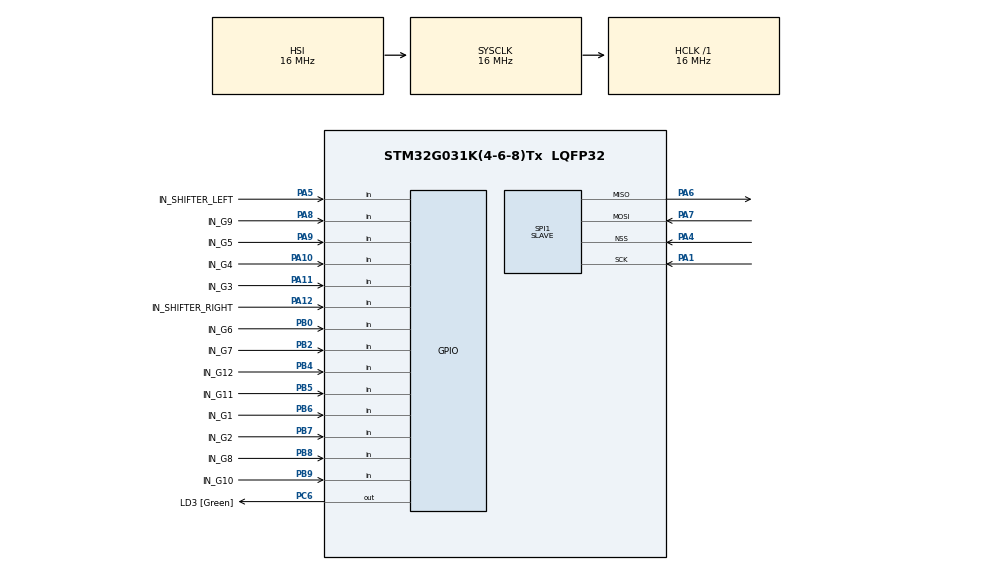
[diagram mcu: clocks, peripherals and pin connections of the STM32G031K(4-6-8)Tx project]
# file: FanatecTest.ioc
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Dma.Request0=SPI1_TX
Dma.Request1=SPI1_RX
Dma.SPI1_RX.1.Direction=DMA_PERIPH_TO_MEMORY
Dma.SPI1_RX.1.EventEnable=DISABLE
Dma.SPI1_RX.1.Instance=DMA1_Channel2
Dma.SPI1_RX.1.MemDataAlignment=DMA_MDATAALIGN_BYTE
Dma.SPI1_RX.1.MemInc=DMA_MINC_ENABLE
Dma.SPI1_RX.1.Mode=DMA_NORMAL
Dma.SPI1_RX.1.PeriphDataAlignment=DMA_PDATAALIGN_BYTE
Dma.SPI1_RX.1.PeriphInc=DMA_PINC_DISABLE
Dma.SPI1_RX.1.Polarity=HAL_DMAMUX_REQ_GEN_RISING
Dma.SPI1_RX.1.Priority=DMA_PRIORITY_LOW
Dma.SPI1_RX.1.RequestNumber=1
Dma.SPI1_RX.1.SignalID=NONE
Dma.SPI1_RX.1.SyncEnable=DISABLE
Dma.SPI1_RX.1.SyncPolarity=HAL_DMAMUX_SYNC_NO_EVENT
Dma.SPI1_RX.1.SyncRequestNumber=1
Dma.SPI1_RX.1.SyncSignalID=NONE
Dma.SPI1_TX.0.Direction=DMA_MEMORY_TO_PERIPH
Dma.SPI1_TX.0.EventEnable=DISABLE
Dma.SPI1_TX.0.Instance=DMA1_Channel1
Dma.SPI1_TX.0.MemDataAlignment=DMA_MDATAALIGN_BYTE
Dma.SPI1_TX.0.MemInc=DMA_MINC_ENABLE
Dma.SPI1_TX.0.Mode=DMA_NORMAL
Dma.SPI1_TX.0.PeriphDataAlignment=DMA_PDATAALIGN_BYTE
Dma.SPI1_TX.0.PeriphInc=DMA_PINC_DISABLE
Dma.SPI1_TX.0.Polarity=HAL_DMAMUX_REQ_GEN_RISING
Dma.SPI1_TX.0.Priority=DMA_PRIORITY_LOW
Dma.SPI1_TX.0.RequestNumber=1
Dma.SPI1_TX.0.SignalID=NONE
Dma.SPI1_TX.0.SyncEnable=DISABLE
Dma.SPI1_TX.0.SyncPolarity=HAL_DMAMUX_SYNC_NO_EVENT
Dma.SPI1_TX.0.SyncRequestNumber=1
Dma.SPI1_TX.0.SyncSignalID=NONE
Mcu.Family=STM32G0
Mcu.Name=STM32G031K(4-6-8)Tx
Mcu.Package=LQFP32
NVIC.DMA1_Channel1_IRQn=true\:0\:0\:false\:false\:true\:false\:true\:true
NVIC.DMA1_Channel2_3_IRQn=true\:0\:0\:false\:false\:true\:false\:true\:true
NVIC.SPI1_IRQn=true\:0\:0\:false\:false\:true\:true\:true\:true
PA1.Mode=Full_Duplex_Slave
PA1.Signal=SPI1_SCK
PA10.GPIO_Label=IN_G4
PA10.GPIO_PuPd=GPIO_PULLUP
PA10.Signal=GPIO_Input
PA11\ [PA9].GPIO_Label=IN_G3
PA11\ [PA9].GPIO_PuPd=GPIO_PULLUP
PA11\ [PA9].Signal=GPIO_Input
PA12\ [PA10].GPIO_Label=IN_SHIFTER_RIGHT
PA12\ [PA10].GPIO_PuPd=GPIO_PULLUP
PA12\ [PA10].Signal=GPIO_Input
PA13.GPIO_Label=T_JTMS
PA13.Mode=Serial_Wire
PA13.Signal=SYS_SWDIO
PA14-BOOT0.GPIO_Label=T_JTCK
PA14-BOOT0.Mode=Serial_Wire
PA14-BOOT0.Signal=SYS_SWCLK
PA4.Mode=NSS_Signal_Hard_Input
PA4.Signal=SPI1_NSS
PA5.GPIO_Label=IN_SHIFTER_LEFT
PA5.GPIO_PuPd=GPIO_PULLUP
PA5.Signal=GPIO_Input
PA6.Mode=Full_Duplex_Slave
PA6.Signal=SPI1_MISO
PA7.Mode=Full_Duplex_Slave
PA7.Signal=SPI1_MOSI
PA8.GPIO_Label=IN_G9
PA8.GPIO_PuPd=GPIO_PULLUP
PA8.Signal=GPIO_Input
PA9.GPIO_Label=IN_G5
PA9.GPIO_PuPd=GPIO_PULLUP
PA9.Signal=GPIO_Input
PB0.GPIO_Label=IN_G6
PB0.GPIO_PuPd=GPIO_PULLUP
PB0.Signal=GPIO_Input
PB2.GPIO_Label=IN_G7
PB2.GPIO_PuPd=GPIO_PULLUP
PB2.Signal=GPIO_Input
PB4.GPIO_Label=IN_G12
PB4.GPIO_PuPd=GPIO_PULLUP
PB4.Signal=GPIO_Input
PB5.GPIO_Label=IN_G11
PB5.GPIO_PuPd=GPIO_PULLUP
PB5.Signal=GPIO_Input
PB6.GPIO_Label=IN_G1
PB6.GPIO_PuPd=GPIO_PULLUP
PB6.Signal=GPIO_Input
PB7.GPIO_Label=IN_G2
PB7.GPIO_PuPd=GPIO_PULLUP
PB7.Signal=GPIO_Input
PB8.GPIO_Label=IN_G8
PB8.GPIO_PuPd=GPIO_PULLUP
PB8.Signal=GPIO_Input
PB9.GPIO_Label=IN_G10
PB9.GPIO_PuPd=GPIO_PULLUP
PB9.Signal=GPIO_Input
PC14-OSC32_IN\ (PC14).Mode=LSE-External-Oscillator
PC14-OSC32_IN\ (PC14).Signal=RCC_OSC32_IN
PC15-OSC32_OUT\ (PC15).Mode=LSE-External-Oscillator
PC15-OSC32_OUT\ (PC15).Signal=RCC_OSC32_OUT
PC6.GPIO_Label=LD3 [Green]
PC6.Signal=GPIO_Output
ProjectManager.HeapSize=0x200
ProjectManager.StackSize=0x400
ProjectManager.TargetToolchain=STM32CubeIDE
RCC.AHBFreq_Value=16000000
RCC.CortexFreq_Value=16000000
RCC.EXTERNAL_CLOCK_VALUE=12288000
RCC.HCLKFreq_Value=16000000
RCC.HSE_VALUE=8000000
RCC.HSI_VALUE=16000000
RCC.SYSCLKFreq_VALUE=16000000
RCC.VCOOutputFreq_Value=128000000
SPI1.Direction=SPI_DIRECTION_2LINES
SPI1.Mode=SPI_MODE_SLAVE
SPI1.VirtualNSS=VM_NSSHARD
SPI1.VirtualType=VM_SLAVE
board=NUCLEO-G031K8

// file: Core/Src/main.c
/* USER CODE BEGIN Header */
/**
 ******************************************************************************
 * @file           : main.c
 * @brief          : Main program body
 ******************************************************************************
 * @attention
 *
 * Copyright (c) 2023 STMicroelectronics.
 * All rights reserved.
 *
 * This software is licensed under terms that can be found in the LICENSE file
 * in the root directory of this software component.
 * If no LICENSE file comes with this software, it is provided AS-IS.
 *
 ******************************************************************************
 */
/* USER CODE END Header */
#include "main.h"

/* USER CODE BEGIN PM */
SPI_HandleTypeDef hspi1;
DMA_HandleTypeDef hdma_spi1_tx;
DMA_HandleTypeDef hdma_spi1_rx;

int cntSucc = 0;
int cntErr = 0;

#define BUFFER_SIZE 33
//uint8_t aTxBuffer[BUFFER_SIZE] = { 0xA5, 0x03, 0x01, 0x00, 0x00, 0x00, 0x00,
//		0x00, 0x00, 0x00, 0x00, 0x00, 0x00, 0x00, 0x00, 0x00, 0x00, 0x00, 0x00,
//		0x00, 0x00, 0x00, 0x00, 0x00, 0x00, 0x00, 0x00, 0x00, 0x00, 0x00, 0x00,
//		0x00, 0xb9};

uint8_t aTxBuffer[BUFFER_SIZE] = { 0xA5, 0x04, 0x00, 0x00, 0x00, 0x00, 0x00,
		0x00, 0x00, 0x00, 0x00, 0x00, 0x00, 0x00, 0x00, 0x00, 0x00, 0x00, 0x00,
		0x00, 0x00, 0x00, 0x00, 0x00, 0x00, 0x00, 0x00, 0x00, 0x00, 0x00, 0x00,
		0x00, 0xfc };

const unsigned char _crc8_table[256] = { 0, 94, 188, 226, 97, 63, 221, 131, 194,
		156, 126, 32, 163, 253, 31, 65, 157, 195, 33, 127, 252, 162, 64, 30, 95,
		1, 227, 189, 62, 96, 130, 220, 35, 125, 159, 193, 66, 28, 254, 160, 225,
		191, 93, 3, 128, 222, 60, 98, 190, 224, 2, 92, 223, 129, 99, 61, 124,
		34, 192, 158, 29, 67, 161, 255, 70, 24, 250, 164, 39, 121, 155, 197,
		132, 218, 56, 102, 229, 187, 89, 7, 219, 133, 103, 57, 186, 228, 6, 88,
		25, 71, 165, 251, 120, 38, 196, 154, 101, 59, 217, 135, 4, 90, 184, 230,
		167, 249, 27, 69, 198, 152, 122, 36, 248, 166, 68, 26, 153, 199, 37,
		123, 58, 100, 134, 216, 91, 5, 231, 185, 140, 210, 48, 110, 237, 179,
		81, 15, 78, 16, 242, 172, 47, 113, 147, 205, 17, 79, 173, 243, 112, 46,
		204, 146, 211, 141, 111, 49, 178, 236, 14, 80, 175, 241, 19, 77, 206,
		144, 114, 44, 109, 51, 209, 143, 12, 82, 176, 238, 50, 108, 142, 208,
		83, 13, 239, 177, 240, 174, 76, 18, 145, 207, 45, 115, 202, 148, 118,
		40, 171, 245, 23, 73, 8, 86, 180, 234, 105, 55, 213, 139, 87, 9, 235,
		181, 54, 104, 138, 212, 149, 203, 41, 119, 244, 170, 72, 22, 233, 183,
		85, 11, 136, 214, 52, 106, 43, 117, 151, 201, 74, 20, 246, 168, 116, 42,
		200, 150, 21, 75, 169, 247, 182, 232, 10, 84, 215, 137, 107, 53 };

uint8_t crc8(const uint8_t *buf, uint8_t length) {
	uint8_t crc = 0xff;
	while (length) {
		//crc = pgm_read_byte_near(_crc8_table + (*buf ^ crc));
		crc = _crc8_table[(*buf ^ crc)];
		buf++;
		length--;
	}
	return crc;
}

void calcOutgoingCrc() {
	aTxBuffer[BUFFER_SIZE - 1] = crc8(aTxBuffer, BUFFER_SIZE - 1); // calculates crc8 for outgoing packet
}

uint8_t aRxBuffer[BUFFER_SIZE];
/* USER CODE END PM */

SPI_HandleTypeDef hspi1;
DMA_HandleTypeDef hdma_spi1_tx;
DMA_HandleTypeDef hdma_spi1_rx;

void SystemClock_Config(void);
static void MX_GPIO_Init(void);
static void MX_DMA_Init(void);
static void MX_SPI1_Init(void);

/* USER CODE BEGIN 0 */
enum {
	TRANSFER_WAIT, TRANSFER_COMPLETE, TRANSFER_ERROR
};
__IO uint32_t wTransferState = TRANSFER_WAIT;

uint8_t buttonStates[14] = { 0 };

void readAllButtons() {

	buttonStates[0] = !HAL_GPIO_ReadPin(IN_G1_GPIO_Port, IN_G1_Pin);
	buttonStates[1] = !HAL_GPIO_ReadPin(IN_G2_GPIO_Port, IN_G2_Pin);
	buttonStates[2] = !HAL_GPIO_ReadPin(IN_G3_GPIO_Port, IN_G3_Pin);
	buttonStates[3] = !HAL_GPIO_ReadPin(IN_G4_GPIO_Port, IN_G4_Pin);
	buttonStates[4] = !HAL_GPIO_ReadPin(IN_G5_GPIO_Port, IN_G5_Pin);
	buttonStates[5] = !HAL_GPIO_ReadPin(IN_G6_GPIO_Port, IN_G6_Pin);
	buttonStates[6] = !HAL_GPIO_ReadPin(IN_G7_GPIO_Port, IN_G7_Pin);
	buttonStates[7] = !HAL_GPIO_ReadPin(IN_G8_GPIO_Port, IN_G8_Pin);
	buttonStates[8] = !HAL_GPIO_ReadPin(IN_G9_GPIO_Port, IN_G9_Pin);
	buttonStates[9] = !HAL_GPIO_ReadPin(IN_G10_GPIO_Port, IN_G10_Pin);
	buttonStates[10] = !HAL_GPIO_ReadPin(IN_G11_GPIO_Port, IN_G11_Pin);
	buttonStates[11] = !HAL_GPIO_ReadPin(IN_G12_GPIO_Port, IN_G12_Pin);
	buttonStates[12] = !HAL_GPIO_ReadPin(IN_SHIFTER_LEFT_GPIO_Port,
	IN_SHIFTER_LEFT_Pin);
	buttonStates[13] = !HAL_GPIO_ReadPin(IN_SHIFTER_RIGHT_GPIO_Port,
	IN_SHIFTER_RIGHT_Pin);
}

void assembleButtons() {
	uint8_t buttonByte0 = (buttonStates[9] << 4)/*a*/
	| (buttonStates[10] << 5)/*RSB*/
	| (buttonStates[8] << 6)/*rt*/
	| (buttonStates[11] << 7)/*rb*/;

	uint8_t buttonByte1 = (buttonStates[12] << 3)/*shift l*/
	| (buttonStates[13] << 0)/*shift r*/
	| (buttonStates[3] << 1)/*lsb*/
	| (buttonStates[5] << 2)/*option 3 stripes*/
	| (buttonStates[1] << 4)/*lt*/
	| (buttonStates[2] << 5)/*lb*/
	| (buttonStates[0] << 6)/*2 square*/
	| (buttonStates[7] << 7)/*y*/;

	uint8_t buttonByte2 = (buttonStates[6] << 2)/*B*/
	| (buttonStates[4] << 3)/*x*/;

	aTxBuffer[2] = buttonByte0;
	aTxBuffer[3] = buttonByte1;
	aTxBuffer[4] = buttonByte2;
	calcOutgoingCrc();
}
/* USER CODE END 0 */

int main(void) {

	/* MCU Configuration--------------------------------------------------------*/

	/* Reset of all peripherals, Initializes the Flash interface and the Systick. */
	HAL_Init();

	/* Configure the system clock */
	SystemClock_Config();

	/* Initialize all configured peripherals */
	MX_GPIO_Init();
	MX_DMA_Init();
	MX_SPI1_Init();
	/* USER CODE BEGIN 2 */
	wTransferState == TRANSFER_WAIT;

	/* USER CODE END 2 */

	/* Infinite loop */
	/* USER CODE BEGIN WHILE */
	while (1) {
		calcOutgoingCrc();
		wTransferState == TRANSFER_WAIT;
		if (HAL_SPI_TransmitReceive_DMA(&hspi1, (uint8_t*) aTxBuffer,
				(uint8_t*) aRxBuffer, BUFFER_SIZE) != HAL_OK) {
			/* Transfer error in transmission process */
			//Error_Handler();
		}
		while (wTransferState == TRANSFER_WAIT) {
		}
		readAllButtons();
		assembleButtons();

		/* USER CODE END WHILE */

	}
}

void SystemClock_Config(void) {
	RCC_OscInitTypeDef RCC_OscInitStruct = { 0 };
	RCC_ClkInitTypeDef RCC_ClkInitStruct = { 0 };

	/** Configure the main internal regulator output voltage
	 */
	HAL_PWREx_ControlVoltageScaling(PWR_REGULATOR_VOLTAGE_SCALE1);

	/** Initializes the RCC Oscillators according to the specified parameters
	 * in the RCC_OscInitTypeDef structure.
	 */
	RCC_OscInitStruct.OscillatorType = RCC_OSCILLATORTYPE_HSI;
	RCC_OscInitStruct.HSIState = RCC_HSI_ON;
	RCC_OscInitStruct.HSIDiv = RCC_HSI_DIV1;
	RCC_OscInitStruct.HSICalibrationValue = RCC_HSICALIBRATION_DEFAULT;
	RCC_OscInitStruct.PLL.PLLState = RCC_PLL_NONE;
	if (HAL_RCC_OscConfig(&RCC_OscInitStruct) != HAL_OK) {
		Error_Handler();
	}

	/** Initializes the CPU, AHB and APB buses clocks
	 */
	RCC_ClkInitStruct.ClockType = RCC_CLOCKTYPE_HCLK | RCC_CLOCKTYPE_SYSCLK
			| RCC_CLOCKTYPE_PCLK1;
	RCC_ClkInitStruct.SYSCLKSource = RCC_SYSCLKSOURCE_HSI;
	RCC_ClkInitStruct.AHBCLKDivider = RCC_SYSCLK_DIV1;
	RCC_ClkInitStruct.APB1CLKDivider = RCC_HCLK_DIV1;

	if (HAL_RCC_ClockConfig(&RCC_ClkInitStruct, FLASH_LATENCY_0) != HAL_OK) {
		Error_Handler();
	}
}

static void MX_SPI1_Init(void) {

	/* SPI1 parameter configuration*/
	hspi1.Instance = SPI1;
	hspi1.Init.Mode = SPI_MODE_SLAVE;
	hspi1.Init.Direction = SPI_DIRECTION_2LINES;
	hspi1.Init.DataSize = SPI_DATASIZE_8BIT;
	hspi1.Init.CLKPolarity = SPI_POLARITY_LOW;
	hspi1.Init.CLKPhase = SPI_PHASE_1EDGE;
	hspi1.Init.NSS = SPI_NSS_HARD_INPUT;
	hspi1.Init.FirstBit = SPI_FIRSTBIT_MSB;
	hspi1.Init.TIMode = SPI_TIMODE_DISABLE;
	hspi1.Init.CRCCalculation = SPI_CRCCALCULATION_DISABLE;
	hspi1.Init.CRCPolynomial = 7;
	hspi1.Init.CRCLength = SPI_CRC_LENGTH_DATASIZE;
	hspi1.Init.NSSPMode = SPI_NSS_PULSE_DISABLE;
	if (HAL_SPI_Init(&hspi1) != HAL_OK) {
		Error_Handler();
	}

}

static void MX_DMA_Init(void) {

	/* DMA controller clock enable */
	__HAL_RCC_DMA1_CLK_ENABLE();

	/* DMA interrupt init */
	/* DMA1_Channel1_IRQn interrupt configuration */
	HAL_NVIC_SetPriority(DMA1_Channel1_IRQn, 0, 0);
	HAL_NVIC_EnableIRQ(DMA1_Channel1_IRQn);
	/* DMA1_Channel2_3_IRQn interrupt configuration */
	HAL_NVIC_SetPriority(DMA1_Channel2_3_IRQn, 0, 0);
	HAL_NVIC_EnableIRQ(DMA1_Channel2_3_IRQn);

}

static void MX_GPIO_Init(void) {
	GPIO_InitTypeDef GPIO_InitStruct = { 0 };

	/* GPIO Ports Clock Enable */
	__HAL_RCC_GPIOB_CLK_ENABLE();
	__HAL_RCC_GPIOC_CLK_ENABLE();
	__HAL_RCC_GPIOA_CLK_ENABLE();

	/*Configure GPIO pin Output Level */
	HAL_GPIO_WritePin(LD3_GPIO_Port, LD3_Pin, GPIO_PIN_RESET);

	/*Configure GPIO pins : IN_G10_Pin IN_G6_Pin IN_G7_Pin IN_G12_Pin
	 IN_G11_Pin IN_G1_Pin IN_G2_Pin IN_G8_Pin */
	GPIO_InitStruct.Pin = IN_G10_Pin | IN_G6_Pin | IN_G7_Pin | IN_G12_Pin
			| IN_G11_Pin | IN_G1_Pin | IN_G2_Pin | IN_G8_Pin;
	GPIO_InitStruct.Mode = GPIO_MODE_INPUT;
	GPIO_InitStruct.Pull = GPIO_PULLUP;
	HAL_GPIO_Init(GPIOB, &GPIO_InitStruct);

	/*Configure GPIO pins : IN_SHIFTER_LEFT_Pin IN_G9_Pin IN_G5_Pin IN_G4_Pin
	 IN_G3_Pin IN_SHIFTER_RIGHT_Pin */
	GPIO_InitStruct.Pin = IN_SHIFTER_LEFT_Pin | IN_G9_Pin | IN_G5_Pin
			| IN_G4_Pin | IN_G3_Pin | IN_SHIFTER_RIGHT_Pin;
	GPIO_InitStruct.Mode = GPIO_MODE_INPUT;
	GPIO_InitStruct.Pull = GPIO_PULLUP;
	HAL_GPIO_Init(GPIOA, &GPIO_InitStruct);

	/*Configure GPIO pin : LD3_Pin */
	GPIO_InitStruct.Pin = LD3_Pin;
	GPIO_InitStruct.Mode = GPIO_MODE_OUTPUT_PP;
	GPIO_InitStruct.Pull = GPIO_NOPULL;
	GPIO_InitStruct.Speed = GPIO_SPEED_FREQ_LOW;
	HAL_GPIO_Init(LD3_GPIO_Port, &GPIO_InitStruct);

}

/* USER CODE BEGIN 4 */
/**
 * @brief  TxRx Transfer completed callback.
 * @param  hspi: SPI handle
 * @note   This example shows a simple way to report end of DMA TxRx transfer, and
 *         you can add your own implementation.
 * @retval None
 */
void HAL_SPI_TxRxCpltCallback(SPI_HandleTypeDef *hspi) {
	/* Turn LED3 on: Transfer in transmission/reception process is complete */
	//BSP_LED_On(LED3);
	wTransferState = TRANSFER_COMPLETE;
	cntSucc++;
}

/**
 * @brief  SPI error callbacks.
 * @param  hspi: SPI handle
 * @note   This example shows a simple way to report transfer error, and you can
 *         add your own implementation.
 * @retval None
 */
void HAL_SPI_ErrorCallback(SPI_HandleTypeDef *hspi) {
	wTransferState = TRANSFER_ERROR;
	cntErr++;
}
/* USER CODE END 4 */

void Error_Handler(void) {
	__disable_irq();
	while (1) {
	}
}
